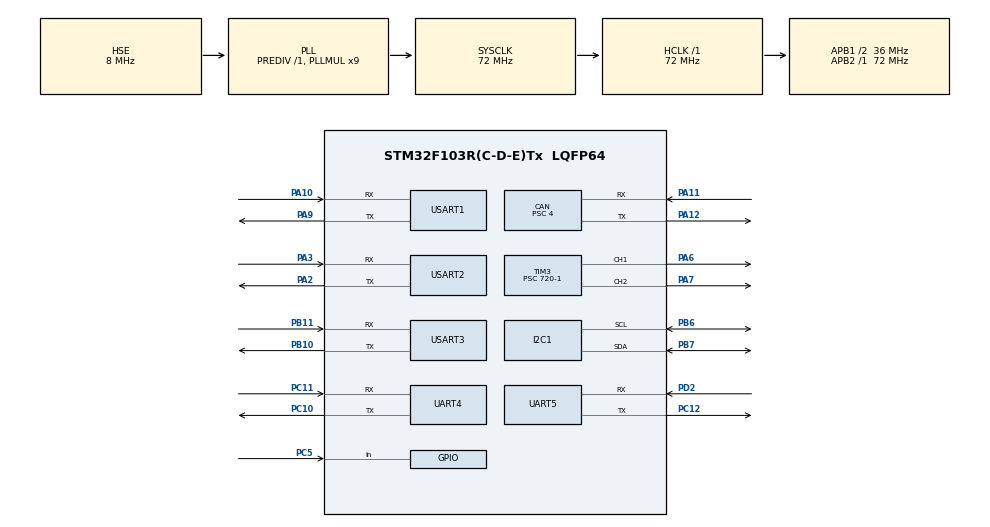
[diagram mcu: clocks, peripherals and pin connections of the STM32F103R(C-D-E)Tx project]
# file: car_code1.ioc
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CAN.ABOM=ENABLE
CAN.BS1=CAN_BS1_14TQ
CAN.BS2=CAN_BS2_3TQ
CAN.CalculateBaudRate=500000
CAN.CalculateTimeBit=2000
CAN.CalculateTimeQuantum=111.11111111111111
CAN.NART=ENABLE
CAN.Prescaler=4
Dma.Request0=USART1_RX
Dma.Request1=USART2_RX
Dma.Request2=USART3_RX
Dma.Request3=UART4_RX
Dma.UART4_RX.3.Direction=DMA_PERIPH_TO_MEMORY
Dma.UART4_RX.3.Instance=DMA2_Channel3
Dma.UART4_RX.3.MemDataAlignment=DMA_MDATAALIGN_BYTE
Dma.UART4_RX.3.MemInc=DMA_MINC_ENABLE
Dma.UART4_RX.3.Mode=DMA_CIRCULAR
Dma.UART4_RX.3.PeriphDataAlignment=DMA_PDATAALIGN_BYTE
Dma.UART4_RX.3.PeriphInc=DMA_PINC_DISABLE
Dma.UART4_RX.3.Priority=DMA_PRIORITY_HIGH
Dma.USART1_RX.0.Direction=DMA_PERIPH_TO_MEMORY
Dma.USART1_RX.0.Instance=DMA1_Channel5
Dma.USART1_RX.0.MemDataAlignment=DMA_MDATAALIGN_BYTE
Dma.USART1_RX.0.MemInc=DMA_MINC_ENABLE
Dma.USART1_RX.0.Mode=DMA_CIRCULAR
Dma.USART1_RX.0.PeriphDataAlignment=DMA_PDATAALIGN_BYTE
Dma.USART1_RX.0.PeriphInc=DMA_PINC_DISABLE
Dma.USART1_RX.0.Priority=DMA_PRIORITY_HIGH
Dma.USART2_RX.1.Direction=DMA_PERIPH_TO_MEMORY
Dma.USART2_RX.1.Instance=DMA1_Channel6
Dma.USART2_RX.1.MemDataAlignment=DMA_MDATAALIGN_BYTE
Dma.USART2_RX.1.MemInc=DMA_MINC_ENABLE
Dma.USART2_RX.1.Mode=DMA_CIRCULAR
Dma.USART2_RX.1.PeriphDataAlignment=DMA_PDATAALIGN_BYTE
Dma.USART2_RX.1.PeriphInc=DMA_PINC_DISABLE
Dma.USART2_RX.1.Priority=DMA_PRIORITY_HIGH
Dma.USART3_RX.2.Direction=DMA_PERIPH_TO_MEMORY
Dma.USART3_RX.2.Instance=DMA1_Channel3
Dma.USART3_RX.2.MemDataAlignment=DMA_MDATAALIGN_BYTE
Dma.USART3_RX.2.MemInc=DMA_MINC_ENABLE
Dma.USART3_RX.2.Mode=DMA_CIRCULAR
Dma.USART3_RX.2.PeriphDataAlignment=DMA_PDATAALIGN_BYTE
Dma.USART3_RX.2.PeriphInc=DMA_PINC_DISABLE
Dma.USART3_RX.2.Priority=DMA_PRIORITY_HIGH
FREERTOS.Tasks01=MonitorTask,-1,128,StartMonitorTask,Default,NULL,Dynamic,NULL,NULL;RobotTask,2,128,StartRobotTask,Default,NULL,Dynamic,NULL,NULL;CommTask,1,128,StartCommTask,Default,NULL,Dynamic,NULL,NULL;DisplayTask,-2,128,StartDisplayTask,Default,NULL,Dynamic,NULL,NULL
I2C1.I2C_Mode=I2C_Fast
Mcu.Family=STM32F1
Mcu.Name=STM32F103R(C-D-E)Tx
Mcu.Package=LQFP64
NVIC.DMA1_Channel3_IRQn=true\:5\:0\:false\:false\:true\:true\:false\:true\:true
NVIC.DMA1_Channel5_IRQn=true\:5\:0\:false\:false\:true\:true\:false\:true\:true
NVIC.DMA1_Channel6_IRQn=true\:5\:0\:false\:false\:true\:true\:false\:true\:true
NVIC.DMA2_Channel3_IRQn=true\:5\:0\:false\:false\:true\:true\:false\:true\:true
NVIC.PriorityGroup=NVIC_PRIORITYGROUP_4
NVIC.TIM6_IRQn=true\:15\:0\:false\:false\:true\:false\:false\:true\:true
NVIC.TimeBase=TIM6_IRQn
NVIC.TimeBaseIP=TIM6
NVIC.UART4_IRQn=true\:6\:0\:true\:false\:true\:true\:true\:true\:true
NVIC.UART5_IRQn=true\:6\:0\:true\:false\:true\:true\:true\:true\:true
NVIC.USART1_IRQn=true\:6\:0\:true\:false\:true\:true\:true\:true\:true
NVIC.USART2_IRQn=true\:6\:0\:true\:false\:true\:true\:true\:true\:true
NVIC.USART3_IRQn=true\:6\:0\:true\:false\:true\:true\:true\:true\:true
NVIC.USB_LP_CAN1_RX0_IRQn=true\:5\:0\:false\:false\:true\:true\:true\:true\:true
PA10.Mode=Asynchronous
PA10.Signal=USART1_RX
PA11.Mode=CAN_Activate
PA11.Signal=CAN_RX
PA12.Mode=CAN_Activate
PA12.Signal=CAN_TX
PA13.Mode=Serial_Wire
PA13.Signal=SYS_JTMS-SWDIO
PA14.Mode=Serial_Wire
PA14.Signal=SYS_JTCK-SWCLK
PA2.Mode=Asynchronous
PA2.Signal=USART2_TX
PA3.Mode=Asynchronous
PA3.Signal=USART2_RX
PA6.Signal=S_TIM3_CH1
PA7.Signal=S_TIM3_CH2
PA9.Mode=Asynchronous
PA9.Signal=USART1_TX
PB10.Mode=Asynchronous
PB10.Signal=USART3_TX
PB11.Mode=Asynchronous
PB11.Signal=USART3_RX
PB6.Mode=I2C
PB6.Signal=I2C1_SCL
PB7.Mode=I2C
PB7.Signal=I2C1_SDA
PC10.Mode=Asynchronous
PC10.Signal=UART4_TX
PC11.Mode=Asynchronous
PC11.Signal=UART4_RX
PC12.Mode=Asynchronous
PC12.Signal=UART5_TX
PC5.GPIO_PuPd=GPIO_PULLUP
PC5.Signal=GPIO_Input
PD0-OSC_IN.Mode=HSE-External-Oscillator
PD0-OSC_IN.Signal=RCC_OSC_IN
PD1-OSC_OUT.Mode=HSE-External-Oscillator
PD1-OSC_OUT.Signal=RCC_OSC_OUT
PD2.Mode=Asynchronous
PD2.Signal=UART5_RX
ProjectManager.HeapSize=0x200
ProjectManager.StackSize=0x400
ProjectManager.TargetToolchain=MDK-ARM V5.32
RCC.AHBFreq_Value=72000000
RCC.APB1CLKDivider=RCC_HCLK_DIV2
RCC.APB1Freq_Value=36000000
RCC.APB1TimFreq_Value=72000000
RCC.APB2Freq_Value=72000000
RCC.APB2TimFreq_Value=72000000
RCC.HCLKFreq_Value=72000000
RCC.PLLMUL=RCC_PLL_MUL9
RCC.PLLSourceVirtual=RCC_PLLSOURCE_HSE
RCC.SYSCLKFreq_VALUE=72000000
RCC.SYSCLKSource=RCC_SYSCLKSOURCE_PLLCLK
RCC.USBFreq_Value=72000000
SH.S_TIM3_CH1.0=TIM3_CH1,PWM Generation1 CH1
SH.S_TIM3_CH2.0=TIM3_CH2,PWM Generation2 CH2
TIM3.Channel-PWM\ Generation1\ CH1=TIM_CHANNEL_1
TIM3.Channel-PWM\ Generation2\ CH2=TIM_CHANNEL_2
TIM3.Period=1999
TIM3.Prescaler=720-1
TIM3.Pulse-PWM\ Generation1\ CH1=50
TIM3.Pulse-PWM\ Generation2\ CH2=150
UART4.VirtualMode=Asynchronous
UART5.VirtualMode=Asynchronous
USART1.VirtualMode=VM_ASYNC
USART2.VirtualMode=VM_ASYNC
USART3.VirtualMode=VM_ASYNC
VP_FREERTOS_VS_CMSIS_V1.Mode=CMSIS_V1
VP_SYS_VS_tim6.Mode=TIM6
VP_TIM3_VS_ClockSourceINT.Mode=Internal
board=custom

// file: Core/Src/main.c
/* USER CODE BEGIN Header */
/**
  ******************************************************************************
  * @file           : main.c
  * @brief          : Main program body
  ******************************************************************************
  * @attention
  *
  * Copyright (c) 2026 STMicroelectronics.
  * All rights reserved.
  *
  * This software is licensed under terms that can be found in the LICENSE file
  * in the root directory of this software component.
  * If no LICENSE file comes with this software, it is provided AS-IS.
  *
  ******************************************************************************
  */
/* USER CODE END Header */
#include "main.h"
#include "cmsis_os.h"
#include "can.h"
#include "dma.h"
#include "i2c.h"
#include "tim.h"
#include "usart.h"
#include "gpio.h"

/* USER CODE BEGIN Includes */
#include "chassis_debug.h"
#include "imu.h"
#include "route.h"
#include "route_uart.h"
#include "arm_work.h"
#include "route_keys.h"
/* USER CODE END Includes */

/* USER CODE BEGIN PV */
/* Boot stage: 1 main, 2 HAL, 3 clock, 4 GPIO, 5 CAN init,
 * 6 filters, 7 CAN started, 8 notifications, 9 key task ready.
 * A debugger halt before C runtime initialization has no valid globals.
 */
volatile uint32_t app_boot_stage;
volatile uint32_t app_error;

/* USER CODE END PV */

void SystemClock_Config(void);
void MX_FREERTOS_Init(void);

int main(void)
{

  /* USER CODE BEGIN 1 */
  app_boot_stage = 1;
  app_error = 0;

  /* USER CODE END 1 */

  /* MCU Configuration--------------------------------------------------------*/

  /* Reset of all peripherals, Initializes the Flash interface and the Systick. */
  HAL_Init();

  /* USER CODE BEGIN Init */
  app_boot_stage = 2;

  /* USER CODE END Init */

  /* Configure the system clock */
  SystemClock_Config();

  /* USER CODE BEGIN SysInit */
  app_boot_stage = 3;

  /* USER CODE END SysInit */

  /* Initialize all configured peripherals */
  MX_GPIO_Init();
  MX_DMA_Init();
  MX_CAN_Init();
  MX_I2C1_Init();
  MX_UART4_Init();
  MX_USART1_UART_Init();
  MX_USART2_UART_Init();
  MX_USART3_UART_Init();
  MX_UART5_Init();
  MX_TIM3_Init();
  /* USER CODE BEGIN 2 */
  app_boot_stage = 5;
  USER_CAN1_Filter_Init();
  app_boot_stage = 6;
  if (HAL_CAN_Start(&hcan) != HAL_OK) Error_Handler();
  app_boot_stage = 7;
  if (HAL_CAN_ActivateNotification(&hcan,
      CAN_IT_RX_FIFO0_MSG_PENDING) != HAL_OK) Error_Handler();
  app_boot_stage = 8;
  HAL_Delay(1000);
  Chassis_DebugInit();
  if (IMU_Init() != HAL_OK) Error_Handler();
  chassis_debug.allow_manual_tests = 0;
  chassis_debug.external_owner = 1;
  Route_Init();
  RouteKeys_Init();
  if (RouteUART_Init(&huart4) != HAL_OK) Error_Handler();
  if (ArmWork_Init() != HAL_OK) Error_Handler();
  app_boot_stage = 9;
	//Chassis_MoveForward(-500.0f, 60, 120);
  /* USER CODE END 2 */

  /* Call init function for freertos objects (in cmsis_os2.c) */
  MX_FREERTOS_Init();

  /* Start scheduler */
  osKernelStart();

  /* We should never get here as control is now taken by the scheduler */

  /* Infinite loop */
  while (1)
  {

    /* USER CODE BEGIN 3 */
    Error_Handler(); /* osKernelStart() must not return. */
  }
  /* USER CODE END 3 */
}

void SystemClock_Config(void)
{
  RCC_OscInitTypeDef RCC_OscInitStruct = {0};
  RCC_ClkInitTypeDef RCC_ClkInitStruct = {0};

  /** Initializes the RCC Oscillators according to the specified parameters
  * in the RCC_OscInitTypeDef structure.
  */
  RCC_OscInitStruct.OscillatorType = RCC_OSCILLATORTYPE_HSE;
  RCC_OscInitStruct.HSEState = RCC_HSE_ON;
  RCC_OscInitStruct.HSEPredivValue = RCC_HSE_PREDIV_DIV1;
  RCC_OscInitStruct.HSIState = RCC_HSI_ON;
  RCC_OscInitStruct.PLL.PLLState = RCC_PLL_ON;
  RCC_OscInitStruct.PLL.PLLSource = RCC_PLLSOURCE_HSE;
  RCC_OscInitStruct.PLL.PLLMUL = RCC_PLL_MUL9;
  if (HAL_RCC_OscConfig(&RCC_OscInitStruct) != HAL_OK)
  {
    Error_Handler();
  }

  /** Initializes the CPU, AHB and APB buses clocks
  */
  RCC_ClkInitStruct.ClockType = RCC_CLOCKTYPE_HCLK|RCC_CLOCKTYPE_SYSCLK
                              |RCC_CLOCKTYPE_PCLK1|RCC_CLOCKTYPE_PCLK2;
  RCC_ClkInitStruct.SYSCLKSource = RCC_SYSCLKSOURCE_PLLCLK;
  RCC_ClkInitStruct.AHBCLKDivider = RCC_SYSCLK_DIV1;
  RCC_ClkInitStruct.APB1CLKDivider = RCC_HCLK_DIV2;
  RCC_ClkInitStruct.APB2CLKDivider = RCC_HCLK_DIV1;

  if (HAL_RCC_ClockConfig(&RCC_ClkInitStruct, FLASH_LATENCY_2) != HAL_OK)
  {
    Error_Handler();
  }
}

void HAL_TIM_PeriodElapsedCallback(TIM_HandleTypeDef *htim)
{
  if (htim->Instance == TIM6)
  {
    HAL_IncTick();
  }
}

void Error_Handler(void)
{
  /* USER CODE BEGIN Error_Handler_Debug */
  app_error = 1;
  /* User can add his own implementation to report the HAL error return state */
  __disable_irq();
  while (1)
  {
  }
  /* USER CODE END Error_Handler_Debug */
}

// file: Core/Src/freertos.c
/* USER CODE BEGIN Header */
/**
  ******************************************************************************
  * File Name          : freertos.c
  * Description        : Code for freertos applications
  ******************************************************************************
  * @attention
  *
  * Copyright (c) 2026 STMicroelectronics.
  * All rights reserved.
  *
  * This software is licensed under terms that can be found in the LICENSE file
  * in the root directory of this software component.
  * If no LICENSE file comes with this software, it is provided AS-IS.
  *
  ******************************************************************************
  */
/* USER CODE END Header */

#include "FreeRTOS.h"
#include "task.h"
#include "main.h"
#include "cmsis_os.h"

/* USER CODE BEGIN Includes */
#include "imu.h"
#include "chassis_debug.h"
#include "chassis_heading.h"
#include "route.h"
#include "route_uart.h"
#include "arm_work.h"
#include "route_keys.h"
/* USER CODE END Includes */

osThreadId MonitorTaskHandle;
osThreadId RobotTaskHandle;
osThreadId CommTaskHandle;
osThreadId DisplayTaskHandle;

void StartMonitorTask(void const * argument);
void StartRobotTask(void const * argument);
void StartCommTask(void const * argument);
void StartDisplayTask(void const * argument);

void MX_FREERTOS_Init(void); /* (MISRA C 2004 rule 8.1) */

/* GetIdleTaskMemory prototype (linked to static allocation support) */
void vApplicationGetIdleTaskMemory( StaticTask_t **ppxIdleTaskTCBBuffer, StackType_t **ppxIdleTaskStackBuffer, uint32_t *pulIdleTaskStackSize );

/* USER CODE BEGIN GET_IDLE_TASK_MEMORY */
static StaticTask_t xIdleTaskTCBBuffer;
static StackType_t xIdleStack[configMINIMAL_STACK_SIZE];

void vApplicationGetIdleTaskMemory( StaticTask_t **ppxIdleTaskTCBBuffer, StackType_t **ppxIdleTaskStackBuffer, uint32_t *pulIdleTaskStackSize )
{
  *ppxIdleTaskTCBBuffer = &xIdleTaskTCBBuffer;
  *ppxIdleTaskStackBuffer = &xIdleStack[0];
  *pulIdleTaskStackSize = configMINIMAL_STACK_SIZE;
  /* place for user code */
}
/* USER CODE END GET_IDLE_TASK_MEMORY */

void MX_FREERTOS_Init(void) {

  /* Create the thread(s) */
  /* definition and creation of MonitorTask */
  osThreadDef(MonitorTask, StartMonitorTask, osPriorityBelowNormal, 0, 256);
  MonitorTaskHandle = osThreadCreate(osThread(MonitorTask), NULL);

  /* definition and creation of RobotTask */
  osThreadDef(RobotTask, StartRobotTask, osPriorityAboveNormal, 0, 1024);
  RobotTaskHandle = osThreadCreate(osThread(RobotTask), NULL);

  /* definition and creation of CommTask */
  osThreadDef(CommTask, StartCommTask, osPriorityHigh, 0, 768);
  CommTaskHandle = osThreadCreate(osThread(CommTask), NULL);

  /* definition and creation of DisplayTask */
  osThreadDef(DisplayTask, StartDisplayTask, osPriorityLow, 0, 384);
  DisplayTaskHandle = osThreadCreate(osThread(DisplayTask), NULL);

  /* USER CODE BEGIN RTOS_THREADS */
  /* Detect insufficient heap rather than silently losing a task. */
  if (MonitorTaskHandle == NULL || RobotTaskHandle == NULL ||
      CommTaskHandle == NULL || DisplayTaskHandle == NULL) Error_Handler();
  /* USER CODE END RTOS_THREADS */

}

void StartMonitorTask(void const * argument)
{
  for(;;)
  {
    osDelay(1);
  }
}

void StartRobotTask(void const * argument)
{
  /* USER CODE BEGIN StartRobotTask */
  for (;;)
  {
    RouteKeys_Task(); /* KEY0 area 2 / stop; KEY1 area 1. */
    Chassis_DebugTask(); /* Watch telemetry; legacy key tests disabled. */
    Route_Task(); /* Sole route and chassis motion owner. */
    ArmWork_Task(); /* Shared CAN1 arm IDs 5/6/7; same RobotTask owns all CAN sends. */
    osDelay(1);
  }
  /* USER CODE END StartRobotTask */
}

void StartCommTask(void const * argument)
{
  /* USER CODE BEGIN StartCommTask */
  /* CAN acknowledgement waits in RobotTask must not starve IMU parsing. */
  for(;;)
  {
    IMU_Task();
    RouteUART_Task();
    osDelay(2);
  }
  /* USER CODE END StartCommTask */
}

void StartDisplayTask(void const * argument)
{
  for(;;)
  {
    osDelay(1);
  }
}
